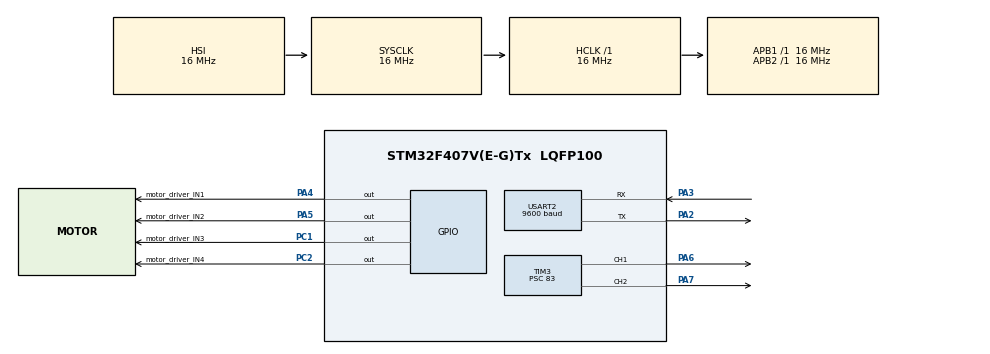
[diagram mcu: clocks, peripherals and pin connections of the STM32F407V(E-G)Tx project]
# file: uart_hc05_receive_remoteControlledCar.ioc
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Mcu.Family=STM32F4
PH0-OSC_IN.Signal=RCC_OSC_IN
RCC.CortexFreq_Value=16000000
PC2.Signal=GPIO_Output
USART2.BaudRate=9600
ProjectManager.StackSize=0x400
PA13.Signal=SYS_JTMS-SWDIO
PA3.Mode=Asynchronous
ProjectManager.TargetToolchain=STM32CubeIDE
TIM3.Period=9999
RCC.LSE_VALUE=32768
RCC.AHBFreq_Value=16000000
PH0-OSC_IN.Mode=HSE-External-Oscillator
TIM3.Channel-PWM\ Generation1\ CH1=TIM_CHANNEL_1
PA5.Signal=GPIO_Output
SH.S_TIM3_CH2.0=TIM3_CH2,PWM Generation2 CH2
RCC.HSE_VALUE=25000000
board=custom
RCC.VCOOutputFreq_Value=192000000
RCC.APB2Freq_Value=16000000
PA14.Mode=Serial_Wire
TIM3.Prescaler=83
PC1.GPIO_Label=motor_driver_IN3
PH1-OSC_OUT.Signal=RCC_OSC_OUT
SH.S_TIM3_CH1.0=TIM3_CH1,PWM Generation1 CH1
PA13.Mode=Serial_Wire
Mcu.Name=STM32F407V(E-G)Tx
PA2.Signal=USART2_TX
PH1-OSC_OUT.Mode=HSE-External-Oscillator
PA4.Signal=GPIO_Output
RCC.SYSCLKFreq_VALUE=16000000
Mcu.Package=LQFP100
PA6.Signal=S_TIM3_CH1
PA5.GPIO_Label=motor_driver_IN2
USART2.VirtualMode=VM_ASYNC
PA14.Signal=SYS_JTCK-SWCLK
ProjectManager.HeapSize=0x200
RCC.HSI_VALUE=16000000
NVIC.PriorityGroup=NVIC_PRIORITYGROUP_4
TIM3.Channel-PWM\ Generation2\ CH2=TIM_CHANNEL_2
PA2.Mode=Asynchronous
RCC.APB1Freq_Value=16000000
PA4.GPIO_Label=motor_driver_IN1
PC2.GPIO_Label=motor_driver_IN4
PC1.Signal=GPIO_Output
PA3.Signal=USART2_RX
PA7.Signal=S_TIM3_CH2

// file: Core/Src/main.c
/* USER CODE BEGIN Header */
/**
  ******************************************************************************
  * @file           : main.c
  * @brief          : Main program body
  ******************************************************************************
  * @attention
  *
  * <h2><center>&copy; Copyright (c) 2021 STMicroelectronics.
  * All rights reserved.</center></h2>
  *
  * This software component is licensed by ST under BSD 3-Clause license,
  * the "License"; You may not use this file except in compliance with the
  * License. You may obtain a copy of the License at:
  *                        opensource.org/licenses/BSD-3-Clause
  *
  ******************************************************************************
  */
/* USER CODE END Header */
#include "main.h"

/* USER CODE BEGIN Includes */
#include <stdio.h>
#include "string.h"
/* USER CODE END Includes */

TIM_HandleTypeDef htim3;

UART_HandleTypeDef huart2;

/* USER CODE BEGIN PV */
char receiveData[1];

/* USER CODE END PV */

void SystemClock_Config(void);
static void MX_GPIO_Init(void);
static void MX_TIM3_Init(void);
static void MX_USART2_UART_Init(void);

/* USER CODE BEGIN 0 */
void ileri(int s)
{
	TIM3 -> CCR1 = s;
	TIM3 -> CCR2= s;

	HAL_GPIO_WritePin(motor_driver_IN1_GPIO_Port, motor_driver_IN1_Pin, GPIO_PIN_SET);
	HAL_GPIO_WritePin(motor_driver_IN2_GPIO_Port, motor_driver_IN2_Pin, GPIO_PIN_RESET);

	HAL_GPIO_WritePin(motor_driver_IN3_GPIO_Port, motor_driver_IN3_Pin, GPIO_PIN_SET);
	HAL_GPIO_WritePin(motor_driver_IN4_GPIO_Port, motor_driver_IN4_Pin, GPIO_PIN_RESET);
}
void geri(int s)
	{
	TIM3 -> CCR1 = s;
	TIM3 -> CCR2= s;

	HAL_GPIO_WritePin(motor_driver_IN1_GPIO_Port, motor_driver_IN1_Pin, GPIO_PIN_RESET);
	HAL_GPIO_WritePin(motor_driver_IN2_GPIO_Port, motor_driver_IN2_Pin, GPIO_PIN_SET);

	HAL_GPIO_WritePin(motor_driver_IN3_GPIO_Port, motor_driver_IN3_Pin, GPIO_PIN_RESET);
	HAL_GPIO_WritePin(motor_driver_IN4_GPIO_Port, motor_driver_IN4_Pin, GPIO_PIN_SET);
	}
void sag(int s)
	{
	TIM3 -> CCR1 = s;
	TIM3 -> CCR2= s;

	HAL_GPIO_WritePin(motor_driver_IN1_GPIO_Port, motor_driver_IN1_Pin, GPIO_PIN_RESET);
	HAL_GPIO_WritePin(motor_driver_IN2_GPIO_Port, motor_driver_IN2_Pin, GPIO_PIN_RESET);

	HAL_GPIO_WritePin(motor_driver_IN3_GPIO_Port, motor_driver_IN3_Pin, GPIO_PIN_SET);
	HAL_GPIO_WritePin(motor_driver_IN4_GPIO_Port, motor_driver_IN4_Pin, GPIO_PIN_RESET);
	}
void sol(int s)
	{
	TIM3 -> CCR1 = s;
	TIM3 -> CCR2= s;

	HAL_GPIO_WritePin(motor_driver_IN1_GPIO_Port, motor_driver_IN1_Pin, GPIO_PIN_SET);
	HAL_GPIO_WritePin(motor_driver_IN2_GPIO_Port, motor_driver_IN2_Pin, GPIO_PIN_RESET);

	HAL_GPIO_WritePin(motor_driver_IN3_GPIO_Port, motor_driver_IN3_Pin, GPIO_PIN_RESET);
	HAL_GPIO_WritePin(motor_driver_IN4_GPIO_Port, motor_driver_IN4_Pin, GPIO_PIN_RESET);
	}
void stop(int s)
	{
	TIM3 -> CCR1 = s;
	TIM3 -> CCR2= s;

	HAL_GPIO_WritePin(motor_driver_IN1_GPIO_Port, motor_driver_IN1_Pin, GPIO_PIN_RESET);
	HAL_GPIO_WritePin(motor_driver_IN2_GPIO_Port, motor_driver_IN2_Pin, GPIO_PIN_RESET);

	HAL_GPIO_WritePin(motor_driver_IN3_GPIO_Port, motor_driver_IN3_Pin, GPIO_PIN_RESET);
	HAL_GPIO_WritePin(motor_driver_IN4_GPIO_Port, motor_driver_IN4_Pin, GPIO_PIN_RESET);
	}
/* USER CODE END 0 */

int main(void)
{

  /* MCU Configuration--------------------------------------------------------*/

  /* Reset of all peripherals, Initializes the Flash interface and the Systick. */
  HAL_Init();

  /* Configure the system clock */
  SystemClock_Config();

  /* Initialize all configured peripherals */
  MX_GPIO_Init();
  MX_TIM3_Init();
  MX_USART2_UART_Init();
  /* USER CODE BEGIN 2 */
  HAL_TIM_PWM_Start(&htim3, TIM_CHANNEL_1);
  HAL_TIM_PWM_Start(&htim3, TIM_CHANNEL_2);
  /* USER CODE END 2 */

  /* Infinite loop */
  while (1)
  {

    /* USER CODE BEGIN 3 */
	  HAL_UART_Receive(&huart2, (uint8_t *)&receiveData[0],1, 100);

	 	  if(receiveData[0]=='1')
	 		  ileri(2000);

	 	  if(receiveData[0]=='2')
	 		  geri(2000);

	 	  if(receiveData[0]=='3')
	 		  sag(2000);

	 	  if(receiveData[0]=='4')
	 	  	  sol(2000);

	 	  if(receiveData[0]=='5')
	 	  	  stop(2000);

  }
  /* USER CODE END 3 */
}

void SystemClock_Config(void)
{
  RCC_OscInitTypeDef RCC_OscInitStruct = {0};
  RCC_ClkInitTypeDef RCC_ClkInitStruct = {0};

  /** Configure the main internal regulator output voltage
  */
  __HAL_RCC_PWR_CLK_ENABLE();
  __HAL_PWR_VOLTAGESCALING_CONFIG(PWR_REGULATOR_VOLTAGE_SCALE1);
  /** Initializes the RCC Oscillators according to the specified parameters
  * in the RCC_OscInitTypeDef structure.
  */
  RCC_OscInitStruct.OscillatorType = RCC_OSCILLATORTYPE_HSI;
  RCC_OscInitStruct.HSIState = RCC_HSI_ON;
  RCC_OscInitStruct.HSICalibrationValue = RCC_HSICALIBRATION_DEFAULT;
  RCC_OscInitStruct.PLL.PLLState = RCC_PLL_NONE;
  if (HAL_RCC_OscConfig(&RCC_OscInitStruct) != HAL_OK)
  {
    Error_Handler();
  }
  /** Initializes the CPU, AHB and APB buses clocks
  */
  RCC_ClkInitStruct.ClockType = RCC_CLOCKTYPE_HCLK|RCC_CLOCKTYPE_SYSCLK
                              |RCC_CLOCKTYPE_PCLK1|RCC_CLOCKTYPE_PCLK2;
  RCC_ClkInitStruct.SYSCLKSource = RCC_SYSCLKSOURCE_HSI;
  RCC_ClkInitStruct.AHBCLKDivider = RCC_SYSCLK_DIV1;
  RCC_ClkInitStruct.APB1CLKDivider = RCC_HCLK_DIV1;
  RCC_ClkInitStruct.APB2CLKDivider = RCC_HCLK_DIV1;

  if (HAL_RCC_ClockConfig(&RCC_ClkInitStruct, FLASH_LATENCY_0) != HAL_OK)
  {
    Error_Handler();
  }
}

static void MX_TIM3_Init(void)
{

  TIM_MasterConfigTypeDef sMasterConfig = {0};
  TIM_OC_InitTypeDef sConfigOC = {0};

  htim3.Instance = TIM3;
  htim3.Init.Prescaler = 83;
  htim3.Init.CounterMode = TIM_COUNTERMODE_UP;
  htim3.Init.Period = 9999;
  htim3.Init.ClockDivision = TIM_CLOCKDIVISION_DIV1;
  htim3.Init.AutoReloadPreload = TIM_AUTORELOAD_PRELOAD_DISABLE;
  if (HAL_TIM_PWM_Init(&htim3) != HAL_OK)
  {
    Error_Handler();
  }
  sMasterConfig.MasterOutputTrigger = TIM_TRGO_RESET;
  sMasterConfig.MasterSlaveMode = TIM_MASTERSLAVEMODE_DISABLE;
  if (HAL_TIMEx_MasterConfigSynchronization(&htim3, &sMasterConfig) != HAL_OK)
  {
    Error_Handler();
  }
  sConfigOC.OCMode = TIM_OCMODE_PWM1;
  sConfigOC.Pulse = 0;
  sConfigOC.OCPolarity = TIM_OCPOLARITY_HIGH;
  sConfigOC.OCFastMode = TIM_OCFAST_DISABLE;
  if (HAL_TIM_PWM_ConfigChannel(&htim3, &sConfigOC, TIM_CHANNEL_1) != HAL_OK)
  {
    Error_Handler();
  }
  if (HAL_TIM_PWM_ConfigChannel(&htim3, &sConfigOC, TIM_CHANNEL_2) != HAL_OK)
  {
    Error_Handler();
  }
  HAL_TIM_MspPostInit(&htim3);

}

static void MX_USART2_UART_Init(void)
{

  huart2.Instance = USART2;
  huart2.Init.BaudRate = 9600;
  huart2.Init.WordLength = UART_WORDLENGTH_8B;
  huart2.Init.StopBits = UART_STOPBITS_1;
  huart2.Init.Parity = UART_PARITY_NONE;
  huart2.Init.Mode = UART_MODE_TX_RX;
  huart2.Init.HwFlowCtl = UART_HWCONTROL_NONE;
  huart2.Init.OverSampling = UART_OVERSAMPLING_16;
  if (HAL_UART_Init(&huart2) != HAL_OK)
  {
    Error_Handler();
  }

}

static void MX_GPIO_Init(void)
{
  GPIO_InitTypeDef GPIO_InitStruct = {0};

  /* GPIO Ports Clock Enable */
  __HAL_RCC_GPIOH_CLK_ENABLE();
  __HAL_RCC_GPIOC_CLK_ENABLE();
  __HAL_RCC_GPIOA_CLK_ENABLE();

  /*Configure GPIO pin Output Level */
  HAL_GPIO_WritePin(GPIOC, motor_driver_IN3_Pin|motor_driver_IN4_Pin, GPIO_PIN_RESET);

  /*Configure GPIO pin Output Level */
  HAL_GPIO_WritePin(GPIOA, motor_driver_IN1_Pin|motor_driver_IN2_Pin, GPIO_PIN_RESET);

  /*Configure GPIO pins : motor_driver_IN3_Pin motor_driver_IN4_Pin */
  GPIO_InitStruct.Pin = motor_driver_IN3_Pin|motor_driver_IN4_Pin;
  GPIO_InitStruct.Mode = GPIO_MODE_OUTPUT_PP;
  GPIO_InitStruct.Pull = GPIO_NOPULL;
  GPIO_InitStruct.Speed = GPIO_SPEED_FREQ_LOW;
  HAL_GPIO_Init(GPIOC, &GPIO_InitStruct);

  /*Configure GPIO pins : motor_driver_IN1_Pin motor_driver_IN2_Pin */
  GPIO_InitStruct.Pin = motor_driver_IN1_Pin|motor_driver_IN2_Pin;
  GPIO_InitStruct.Mode = GPIO_MODE_OUTPUT_PP;
  GPIO_InitStruct.Pull = GPIO_NOPULL;
  GPIO_InitStruct.Speed = GPIO_SPEED_FREQ_LOW;
  HAL_GPIO_Init(GPIOA, &GPIO_InitStruct);

}

void Error_Handler(void)
{
  __disable_irq();
  while (1)
  {
  }
}

/************************ (C) COPYRIGHT STMicroelectronics *****END OF FILE****/
